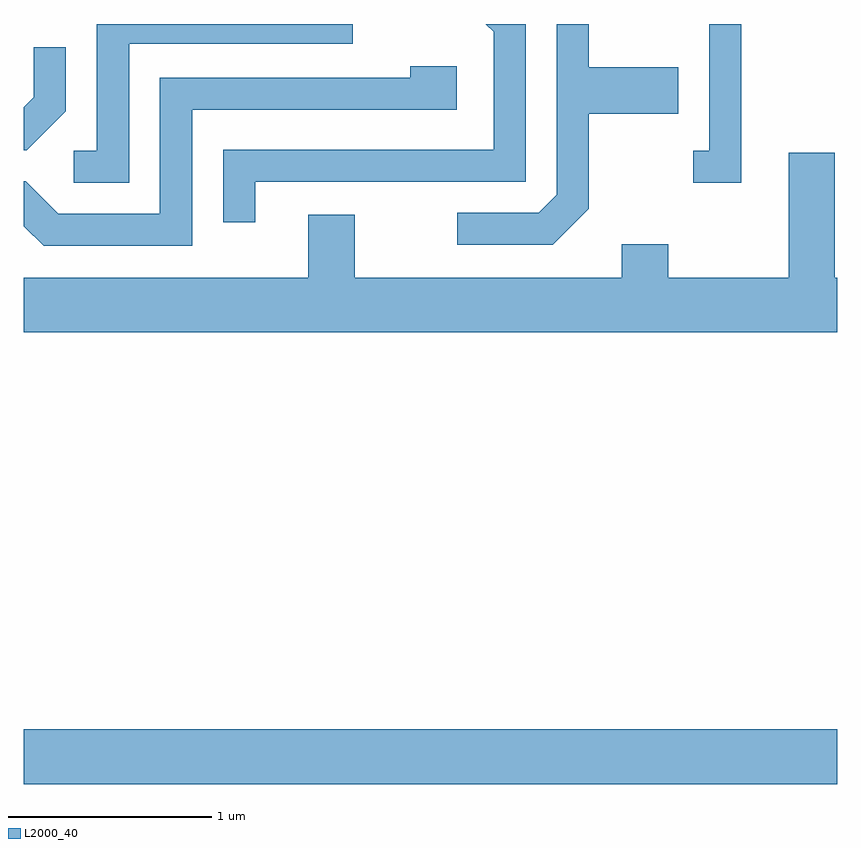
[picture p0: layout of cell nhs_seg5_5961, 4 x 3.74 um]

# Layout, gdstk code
import gdstk
lib = gdstk.Library(unit=1e-6, precision=1e-09)
def R(c, l, rs):  # rectangles x0, y0, x1, y1
    for r in rs: c.add(gdstk.rectangle(r[:2], r[2:], *l))
def P(c, l, *ps):  # polygons
    for p in ps: c.add(gdstk.Polygon(p, *l))
L2000_40 = (2000, 40)

nhs_seg5_5961 = lib.new_cell('nhs_seg5_5961')
R(nhs_seg5_5961, L2000_40, [(361.611,1472.336,365.611,1472.604)])
P(nhs_seg5_5961, L2000_40, [(362.749,1475.296),(364.079,1475.296),(364.079,1476.072),(363.883,1476.072),(363.921,1476.034),(363.921,1475.454),(362.591,1475.454),(362.591,1475.098),(362.749,1475.098)],
  [(365.139,1476.072),(364.981,1476.072),(364.981,1475.449),(364.903,1475.449),(364.903,1475.291),(365.139,1475.291)],
  [(362.129,1475.976),(363.228,1475.976),(363.228,1476.072),(361.971,1476.072),(361.971,1475.449),(361.858,1475.449),(361.858,1475.291),(362.129,1475.291)],
  [(364.389,1475.164),(364.389,1475.631),(364.829,1475.631),(364.829,1475.859),(364.389,1475.859),(364.389,1476.072),(364.231,1476.072),(364.231,1475.232),(364.144,1475.144),(363.743,1475.144),(363.743,1474.986),(364.212,1474.986)],
  [(361.819,1475.644),(361.819,1475.958),(361.661,1475.958),(361.661,1475.712),(361.611,1475.662),(361.611,1475.451),(361.627,1475.451)],
  [(362.439,1475.651),(363.739,1475.651),(363.739,1475.864),(363.511,1475.864),(363.511,1475.809),(362.281,1475.809),(362.281,1475.139),(361.782,1475.139),(361.622,1475.299),(361.611,1475.299),(361.611,1475.079),(361.709,1474.981),(362.439,1474.981)],
  [(365.611,1474.824),(365.599,1474.824),(365.599,1475.439),(365.371,1475.439),(365.371,1474.824),(364.779,1474.824),(364.779,1474.989),(364.551,1474.989),(364.551,1474.824),(363.239,1474.824),(363.239,1475.134),(363.011,1475.134),(363.011,1474.824),(361.611,1474.824),(361.611,1474.556),(365.611,1474.556)])

lib.write_gds('nhs_seg5_5961.gds')
